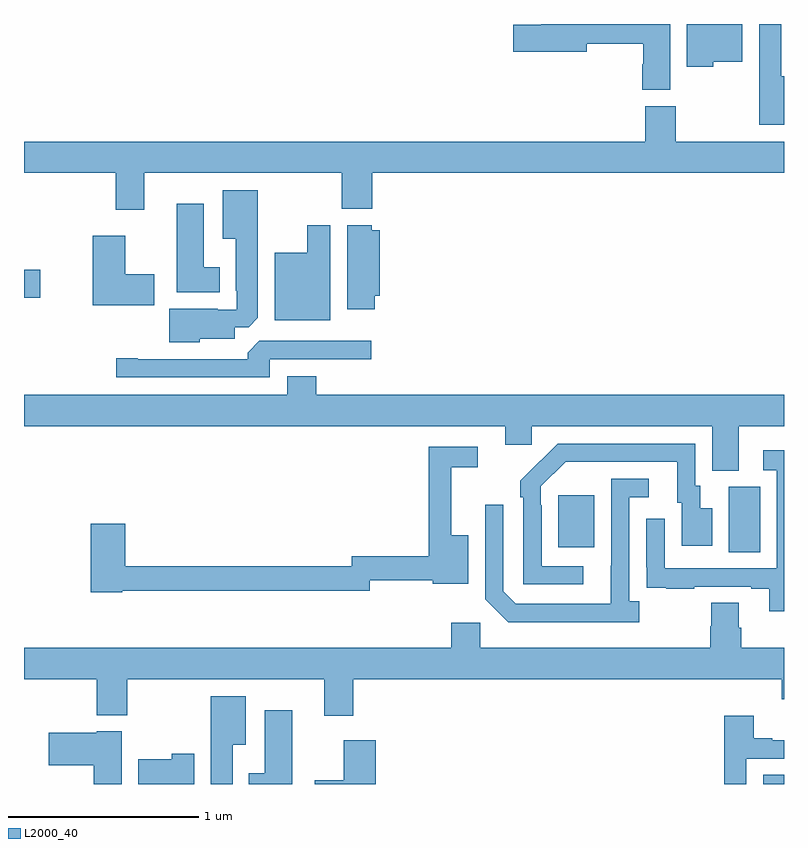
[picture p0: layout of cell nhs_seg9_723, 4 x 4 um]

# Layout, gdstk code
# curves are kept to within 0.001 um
import gdstk
lib = gdstk.Library(unit=1e-6, precision=1e-09)
def R(c, l, rs):  # rectangles x0, y0, x1, y1
    for r in rs: c.add(gdstk.rectangle(r[:2], r[2:], *l))
def P(c, l, *ps):  # polygons
    for p in ps: c.add(gdstk.Polygon(p, *l))
L2000_40 = (2000, 40)

nhs_seg9_723 = lib.new_cell('nhs_seg9_723')
R(nhs_seg9_723, L2000_40, [(150.89,1230.5,151,1230.548), (150.71,1231.72,150.874,1232.064), (149.813,1231.745,150.001,1232.02), (147,1233.059,147.085,1233.206)])
P(nhs_seg9_723, L2000_40, [(151,1234.225),(150.985,1234.225),(150.985,1234.499),(150.981,1234.499),(150.981,1234.5),(150.869,1234.5),(150.869,1233.971),(151,1233.971)],
  [(150.4,1234.5),(149.723,1234.5),(149.723,1234.496),(149.574,1234.496),(149.574,1234.354),(149.962,1234.354),(149.962,1234.396),(150.259,1234.396),(150.259,1234.289),(150.254,1234.289),(150.254,1234.153),(150.4,1234.153)],
  [(150.627,1234.301),(150.781,1234.301),(150.781,1234.5),(150.488,1234.5),(150.488,1234.274),(150.627,1234.274)],
  [(147,1233.716),(147.482,1233.716),(147.482,1233.522),(147.634,1233.522),(147.634,1233.716),(148.672,1233.716),(148.672,1233.527),(148.832,1233.527),(148.832,1233.716),(151,1233.716),(151,1233.88),(150.429,1233.88),(150.429,1234.068),(150.269,1234.068),(150.269,1233.88),(147,1233.88)],
  [(147.924,1232.843),(148.108,1232.843),(148.108,1232.904),(148.182,1232.904),(148.231,1232.953),(148.231,1233.625),(148.046,1233.625),(148.046,1233.371),(148.115,1233.371),(148.115,1233.097),(148.119,1233.097),(148.119,1232.997),(148.019,1232.997),(148.019,1233.001),(147.764,1233.001),(147.764,1232.825),(147.924,1232.825)],
  [(148.03,1233.22),(147.946,1233.22),(147.946,1233.553),(147.803,1233.553),(147.803,1233.089),(148.03,1233.089)],
  [(148.612,1233.442),(148.49,1233.442),(148.49,1233.295),(148.319,1233.295),(148.319,1232.942),(148.612,1232.942)],
  [(148.847,1233.071),(148.873,1233.071),(148.873,1233.415),(148.83,1233.415),(148.83,1233.442),(148.7,1233.442),(148.7,1233),(148.847,1233)],
  [(147.685,1233.183),(147.532,1233.183),(147.532,1233.385),(147.362,1233.385),(147.362,1233.02),(147.685,1233.02)],
  [(148.293,1232.736),(148.828,1232.736),(148.828,1232.832),(148.239,1232.832),(148.178,1232.77),(148.178,1232.736),(147.598,1232.736),(147.598,1232.741),(147.486,1232.741),(147.486,1232.64),(148.293,1232.64)],
  [(150.763,1232.384),(151,1232.384),(151,1232.548),(148.538,1232.548),(148.538,1232.647),(148.385,1232.647),(148.385,1232.548),(147,1232.548),(147,1232.384),(149.534,1232.384),(149.534,1232.286),(149.673,1232.286),(149.673,1232.384),(150.623,1232.384),(150.623,1232.149),(150.763,1232.149)],
  [(149.944,1231.647),(149.724,1231.647),(149.724,1231.967),(149.721,1231.967),(149.721,1232.067),(149.85,1232.196),(150.437,1232.196),(150.437,1231.98),(150.461,1231.98),(150.461,1231.755),(150.622,1231.755),(150.622,1231.951),(150.559,1231.951),(150.559,1232.07),(150.534,1232.07),(150.534,1232.292),(149.81,1232.292),(149.613,1232.097),(149.613,1232.009),(149.628,1232.009),(149.628,1231.551),(149.944,1231.551)],
  [(147.516,1231.518),(148.821,1231.518),(148.821,1231.572),(149.15,1231.572),(149.15,1231.553),(149.338,1231.553),(149.338,1231.81),(149.249,1231.81),(149.249,1232.166),(149.389,1232.166),(149.389,1232.274),(149.131,1232.274),(149.131,1231.7),(148.725,1231.7),(148.725,1231.646),(147.533,1231.646),(147.533,1231.87),(147.35,1231.87),(147.35,1231.51),(147.516,1231.51)],
  [(151,1232.257),(150.891,1232.257),(150.891,1232.151),(150.963,1232.151),(150.963,1231.635),(150.372,1231.635),(150.372,1231.897),(150.276,1231.897),(150.276,1231.642),(150.277,1231.642),(150.277,1231.533),(150.379,1231.533),(150.379,1231.527),(150.527,1231.527),(150.527,1231.539),(150.827,1231.539),(150.827,1231.527),(150.923,1231.527),(150.923,1231.41),(151,1231.41)],
  [(150.238,1231.462),(150.186,1231.462),(150.186,1232.01),(150.289,1232.01),(150.289,1232.106),(150.09,1232.106),(150.089,1231.449),(149.589,1231.449),(149.523,1231.515),(149.523,1231.969),(149.427,1231.969),(149.427,1231.473),(149.548,1231.352),(150.238,1231.352)],
  [(148.733,1231.052),(150.989,1231.052),(150.989,1230.946),(151,1230.946),(151,1231.216),(150.776,1231.216),(150.776,1231.322),(150.763,1231.322),(150.763,1231.454),(150.616,1231.454),(150.616,1231.329),(150.611,1231.329),(150.611,1231.216),(149.4,1231.216),(149.4,1231.348),(149.249,1231.348),(149.249,1231.216),(147,1231.216),(147,1231.052),(147.383,1231.052),(147.383,1230.863),(147.543,1230.863),(147.543,1231.052),(148.58,1231.052),(148.58,1230.858),(148.733,1230.858)],
  [(148.099,1230.707),(148.168,1230.707),(148.168,1230.961),(147.983,1230.961),(147.983,1230.5),(148.099,1230.5)],
  [(148.411,1230.889),(148.268,1230.889),(148.268,1230.556),(148.184,1230.556),(148.184,1230.5),(148.411,1230.5)],
  [(150.801,1230.633),(151,1230.633),(151,1230.729),(150.937,1230.729),(150.937,1230.742),(150.841,1230.742),(150.841,1230.859),(150.685,1230.859),(150.685,1230.5),(150.801,1230.5)],
  [(147.514,1230.778),(147.384,1230.778),(147.384,1230.769),(147.129,1230.769),(147.129,1230.599),(147.368,1230.599),(147.368,1230.5),(147.514,1230.5)],
  [(148.85,1230.73),(148.682,1230.73),(148.682,1230.519),(148.53,1230.519),(148.53,1230.5),(148.85,1230.5)],
  [(147.895,1230.658),(147.777,1230.658),(147.777,1230.631),(147.602,1230.631),(147.602,1230.5),(147.895,1230.5)])

lib.write_gds('nhs_seg9_723.gds')
